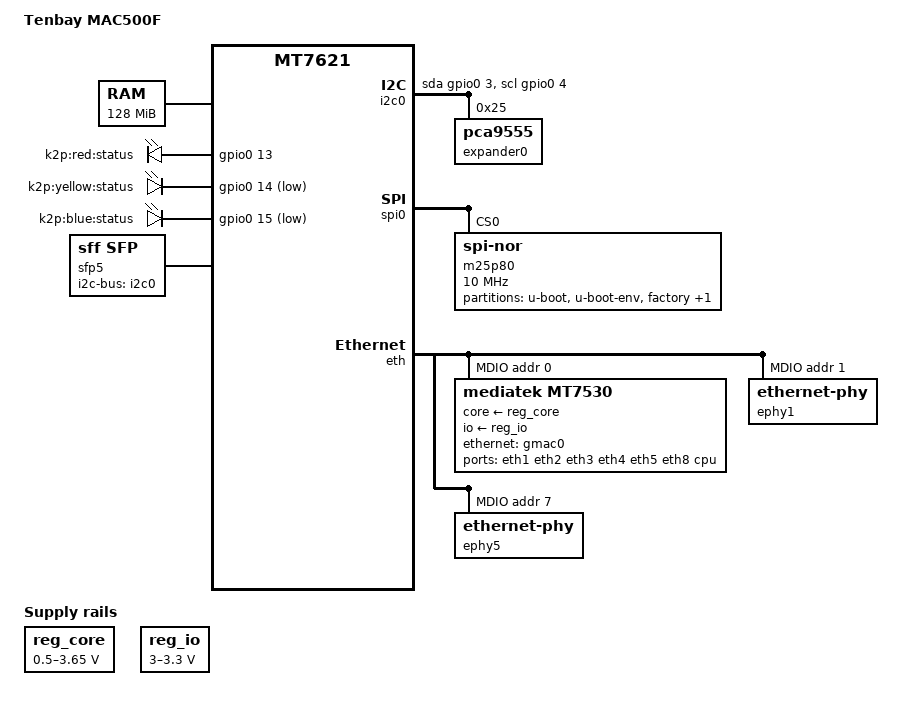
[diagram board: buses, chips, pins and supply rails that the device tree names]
/dts-v1/;

#include "mt7621.dtsi"

#include <dt-bindings/gpio/gpio.h>
#include <dt-bindings/input/input.h>

/ {
	compatible = "tenbay,mac500f", "mediatek,mt7621-soc";
	model = "Tenbay MAC500F";

	aliases {
		led-boot = &led_blue;
		led-failsafe = &led_blue;
		led-running = &led_blue;
		led-upgrade = &led_blue;
	};

	memory@0 {
		device_type = "memory";
		reg = <0x0 0x8000000>;
	};

	chosen {
		bootargs = "console=ttyS0,57600";
	};

	gpio-leds {
		compatible = "gpio-leds";

		stat_r {
			label = "k2p:red:status";
			gpios = <&gpio0 13 GPIO_ACTIVE_HIGH>;
		};

		stat_y {
			label = "k2p:yellow:status";
			gpios = <&gpio0 14 GPIO_ACTIVE_LOW>;
		};

		led_blue: stat_b {
			label = "k2p:blue:status";
			gpios = <&gpio0 15 GPIO_ACTIVE_LOW>;
		};
	};

	// gpio-keys-polled {
	// 	compatible = "gpio-keys-polled";
	// 	poll-interval = <20>;

	// 	reset {
	// 		label = "reset";
	// 		gpios = <&gpio0 3 GPIO_ACTIVE_LOW>;
	// 		linux,code = <KEY_RESTART>;
	// 	};
	// };

	i2c0: i2c-gpio {
		compatible = "i2c-gpio";
		gpios = <&gpio0 3 GPIO_ACTIVE_HIGH /* sda */
		         &gpio0 4 GPIO_ACTIVE_HIGH /* scl */
		        >;
		#address-cells = <1>;
		#size-cells = <0>;

		expander0: pca9555@25 {
			compatible = "pca9555";
			reg = <0x25>;
		};
	};

	reg_core: reg-core {
		compatible = "regulator-fixed";
		regulator-name = "core";

		regulator-min-microvolt = < 500000>;
		regulator-max-microvolt = <3650000>;
		regulator-boot-on;
	};

	reg_io: reg-io {
		compatible = "regulator-fixed";
		regulator-name = "io";

		regulator-min-microvolt = <3000000>;
		regulator-max-microvolt = <3300000>;
		regulator-boot-on;
	};

	sfp5: sfp {
		compatible = "sff,sfp";
		i2c-bus = <&i2c0>;
		// mod-def0-gpio = <&expander0 5 GPIO_ACTIVE_LOW>;
		maximum-power-milliwatt = <1000>;
    };
};

&spi0 {
	status = "okay";

	m25p80@0 {
		compatible = "jedec,spi-nor";
		reg = <0>;
		spi-max-frequency = <10000000>;
		m25p,chunked-io = <32>;

		partitions {
			compatible = "fixed-partitions";
			#address-cells = <1>;
			#size-cells = <1>;

			partition@0 {
				label = "u-boot";
				reg = <0x0 0x30000>;
				read-only;
			};

			partition@30000 {
				label = "u-boot-env";
				reg = <0x30000 0x10000>;
				read-only;
			};

			factory: partition@40000 {
				label = "factory";
				reg = <0x40000 0x10000>;
				read-only;
			};

			partition@a0000 {
				compatible = "denx,uimage";
				label = "firmware";
				reg = <0x50000 0xfb0000>;
			};
		};
	};
};

&gdma {
	status = "okay";
};

&hsdma {
	status = "okay";
};

&eth {
	status = "okay";

	mtd-mac-address = <&factory 0xe006>;

	//switch mt7530
	gmac0: mac@0 {
		compatible = "mediatek,eth-mac";
		mtd-mac-address = <&factory 0x22>;
		reg = <0>;
		phy-mode = "trgmii";

		fixed-link {
			speed = <1000>;
			full-duplex;
			pause;
		};
	};

	mdio: mdio-bus {
		#address-cells = <1>;
		#size-cells = <0>;

		// reset-gpios = <&gpio0 7 GPIO_ACTIVE_LOW>; //reset timing dose not fit well

		mt7530: switch@0 {
			compatible = "mediatek,mt7530";
		    #address-cells = <1>;
			#size-cells = <0>;
			reg = <0>;
	    	pinctrl-names = "default";
		    mediatek,mcm;
			resets = <&rstctrl 2>;
		    reset-names = "mcm";
		    core-supply = <&reg_core>;
		    io-supply = <&reg_io>;

			// dsa,mii-bus = <&mdio>;
			dsa,member = <0 0>;
		};

		ephy1: ethernet-phy@1 {
			reg = <1>;
			phy-mode = "rgmii-rxid";
		};

		ephy5: ethernet-phy@7 {
			reg = <7>;
			phy-mode = "rgmii-rxid";

			fixed-link {
				speed = <1000>;
				full-duplex;
			};
		};
	};
};

&mt7530 {

	ports {
		#address-cells = <1>;
		#size-cells = <0>;
		reg = <0>;

		port@0 {
			reg = <0>;
			label = "eth1";
			cpu = <&cpu_port0>;
		};

		port@1 {
			reg = <1>;
			label = "eth2";
			cpu = <&cpu_port0>;
		};

		port@2 {
			reg = <2>;
			label = "eth3";
			cpu = <&cpu_port0>;
		};

		port@3 {
			reg = <3>;
			label = "eth4";
			cpu = <&cpu_port0>;
		};

		port@4 {
			reg = <4>;
			label = "eth5";
			cpu = <&cpu_port0>;
		};

		port@5 {
			reg = <5>;
			label = "eth8";
			cpu = <&cpu_port0>;
			phy-handle = <&ephy5>;

			sfp = <&sfp5>;
       		managed = "in-band-status";

			fixed-link {
				speed = <1000>;
				full-duplex;
			};
		};

		cpu_port0: port@6 {
			reg = <6>;
			label = "cpu";
			ethernet = <&gmac0>;
			phy-mode = "trgmii";

			fixed-link {
				speed = <1000>;
				full-duplex;
			};
		};
	};
};

&pinctrl {
	state_default: pinctrl0 {
		gpio {
			ralink,group = "uart2", "uart3", "i2c", "pcie", "jtag", "rgmii2";
			ralink,function = "gpio";
		};
	};
};
